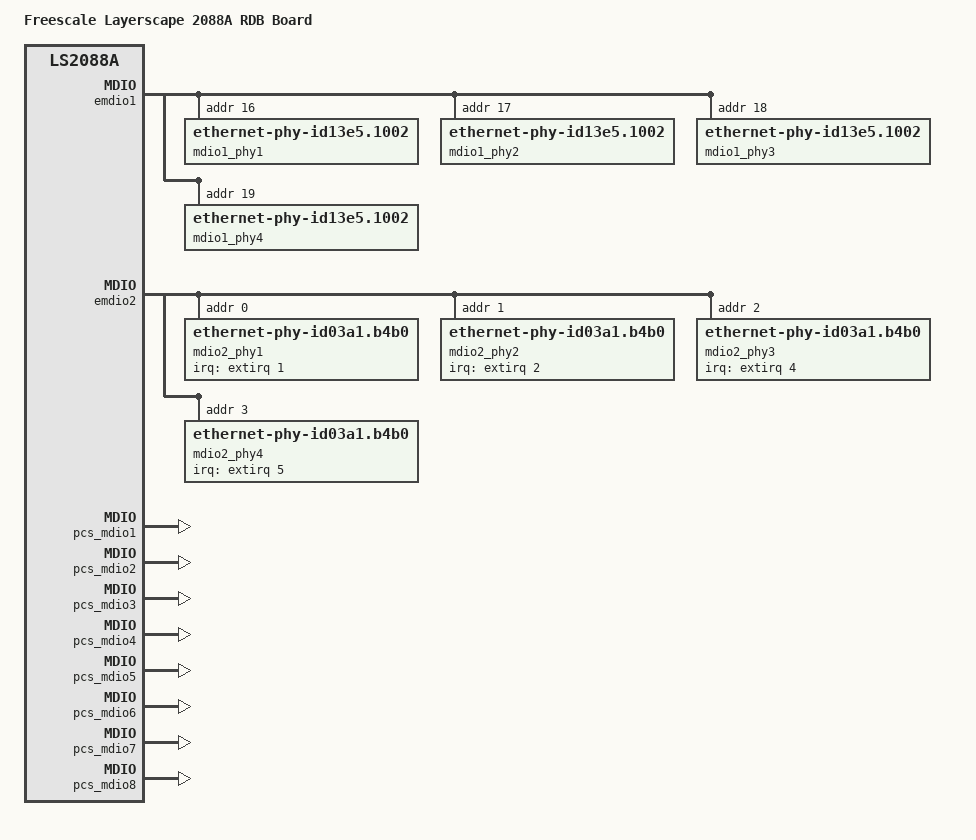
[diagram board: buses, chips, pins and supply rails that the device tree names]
// SPDX-License-Identifier: (GPL-2.0+ OR MIT)
/*
 * Device Tree file for Freescale LS2088A RDB Board.
 *
 * Copyright 2016 Freescale Semiconductor, Inc.
 * Copyright 2017 NXP
 *
 * Abhimanyu Saini <abhimanyu.saini@nxp.com>
 *
 */

/dts-v1/;

#include "fsl-ls2088a.dtsi"
#include "fsl-ls208xa-rdb.dtsi"

/ {
	model = "Freescale Layerscape 2088A RDB Board";
	compatible = "fsl,ls2088a-rdb", "fsl,ls2088a";

	chosen {
		stdout-path = "serial1:115200n8";
	};
};

&dpmac1 {
	phy-handle = <&mdio1_phy1>;
	phy-connection-type = "10gbase-r";
};

&dpmac2 {
	phy-handle = <&mdio1_phy2>;
	phy-connection-type = "10gbase-r";
};

&dpmac3 {
	phy-handle = <&mdio1_phy3>;
	phy-connection-type = "10gbase-r";
};

&dpmac4 {
	phy-handle = <&mdio1_phy4>;
	phy-connection-type = "10gbase-r";
};

&dpmac5 {
	phy-handle = <&mdio2_phy1>;
	phy-connection-type = "10gbase-r";
};

&dpmac6 {
	phy-handle = <&mdio2_phy2>;
	phy-connection-type = "10gbase-r";
};

&dpmac7 {
	phy-handle = <&mdio2_phy3>;
	phy-connection-type = "10gbase-r";
};

&dpmac8 {
	phy-handle = <&mdio2_phy4>;
	phy-connection-type = "10gbase-r";
};

&emdio1 {
	status = "okay";

	mdio1_phy1: ethernet-phy@10 {
		compatible = "ethernet-phy-id13e5.1002";
		reg = <0x10>;
	};

	mdio1_phy2: ethernet-phy@11 {
		compatible = "ethernet-phy-id13e5.1002";
		reg = <0x11>;
	};

	mdio1_phy3: ethernet-phy@12 {
		compatible = "ethernet-phy-id13e5.1002";
		reg = <0x12>;
	};

	mdio1_phy4: ethernet-phy@13 {
		compatible = "ethernet-phy-id13e5.1002";
		reg = <0x13>;
	};
};

&emdio2 {
	status = "okay";

	mdio2_phy1: ethernet-phy@0 {
		compatible = "ethernet-phy-id03a1.b4b0", "ethernet-phy-ieee802.3-c45";
		interrupts-extended = <&extirq 1 IRQ_TYPE_LEVEL_LOW>;
		reg = <0x0>;
	};

	mdio2_phy2: ethernet-phy@1 {
		compatible = "ethernet-phy-id03a1.b4b0", "ethernet-phy-ieee802.3-c45";
		interrupts-extended = <&extirq 2 IRQ_TYPE_LEVEL_LOW>;
		reg = <0x1>;
	};

	mdio2_phy3: ethernet-phy@2 {
		compatible = "ethernet-phy-id03a1.b4b0", "ethernet-phy-ieee802.3-c45";
		interrupts-extended = <&extirq 4 IRQ_TYPE_LEVEL_LOW>;
		reg = <0x2>;
	};

	mdio2_phy4: ethernet-phy@3 {
		compatible = "ethernet-phy-id03a1.b4b0", "ethernet-phy-ieee802.3-c45";
		interrupts-extended = <&extirq 5 IRQ_TYPE_LEVEL_LOW>;
		reg = <0x3>;
	};
};

&pcs_mdio1 {
	status = "okay";
};

&pcs_mdio2 {
	status = "okay";
};

&pcs_mdio3 {
	status = "okay";
};

&pcs_mdio4 {
	status = "okay";
};

&pcs_mdio5 {
	status = "okay";
};

&pcs_mdio6 {
	status = "okay";
};

&pcs_mdio7 {
	status = "okay";
};

&pcs_mdio8 {
	status = "okay";
};
